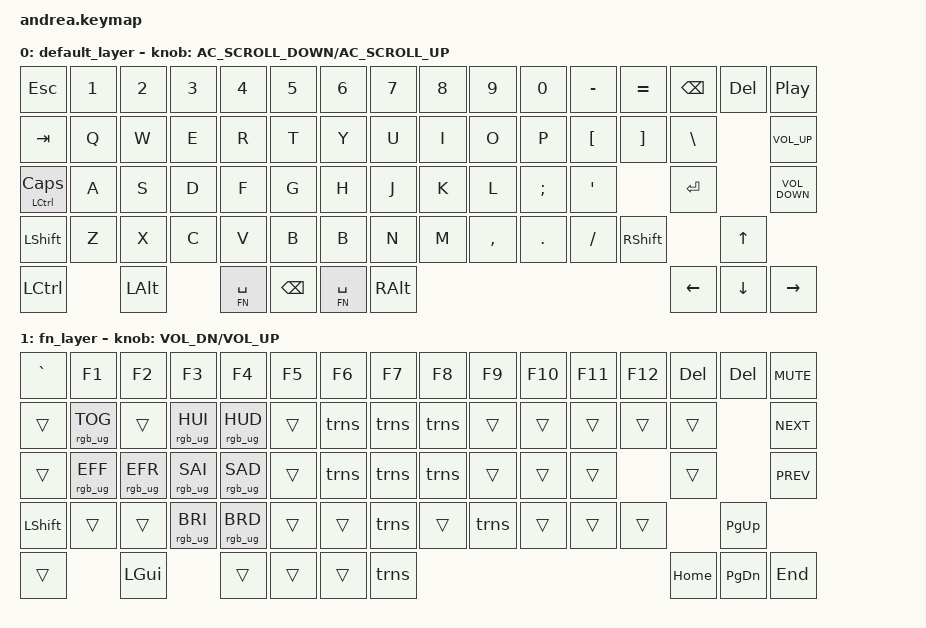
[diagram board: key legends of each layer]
#include <behaviors.dtsi>
#include <dt-bindings/zmk/keys.h>
#include <dt-bindings/zmk/bt.h>
#include <dt-bindings/zmk/outputs.h>
#include <dt-bindings/zmk/rgb.h>
#include <dt-bindings/zmk/ext_power.h>

#define FN 1

/ {
	keymap {
		compatible = "zmk,keymap";

		default_layer {
// -----------------------------------------------------------------------------------------
//   | ESC   | 1     | 2     | 3     | 4     | 5     | 6     | 7     | 8     | 9     | 0     | -     | =     | BSPC  | BSPC  | C_PLAY_PAUSE  |
//   | TAB   | Q     | W     | E     | R     | T     | Y     | U     | I     | O     | P     | [     | ]     | \     |         C_VOLUME_UP  |
// |MT(SPACE)| A     | S     | D     | F     | G     | H     | J     | K     | L     | ;     | '     |         ENTER |         C_VOLUME_DOWN  |
//   | SHIFT | Z     | X     | C     | V     | B     | B     | N     | M     | ,     | .     | /     | SHIFT |         UP    |
//   | CTRL  |         ALT   |  LT(SPACE, 1) | BSPC  |   LT(SPACE,1) | ALT   |                                 LEFT  | DOWN  | RIGHT |

			bindings = <
    &kp ESC          &kp NUM_1        &kp NUM_2     &kp NUM_3     &kp NUM_4     &kp NUM_5        &kp NUM_6        &kp NUM_7        &kp NUM_8        &kp NUM_9        &kp NUM_0        &kp MINUS        &kp EQL          &kp BKSP         &kp DEL         &kp  C_PLAY_PAUSE
    &kp TAB          &kp Q            &kp W         &kp E         &kp R         &kp T            &kp Y            &kp U            &kp I            &kp O            &kp P            &kp LBKT         &kp RBKT         &kp BSLH                         &kp  C_VOLUME_UP
    &mt LCTRL CAPS   &kp A            &kp S         &kp D         &kp F         &kp G            &kp H            &kp J            &kp K            &kp L            &kp SCLN         &kp QUOT                          &kp ENTER                        &kp  C_VOLUME_DOWN
    &kp LSHFT        &kp Z            &kp X         &kp C         &kp V         &kp B            &kp B            &kp N            &kp M            &kp CMMA         &kp DOT          &kp FSLH         &kp RSHFT                         &kp UP
    &kp LCTRL                         &kp LALT                    &lt FN SPACE  &kp BKSP         &lt FN SPACE     &kp RALT                                                                                              &kp LEFT         &kp DOWN        &kp RIGHT
			>;
			
			sensor-bindings = <&inc_dec_kp C_AC_SCROLL_DOWN C_AC_SCROLL_UP>;
			
		};

		fn_layer {
// -----------------------------------------------------------------------------------------
//   | GRAVE | F1    | F2    | F3    | F4    | F5    | F6    | F7    | F8    | F9    | F10   | F11   | F12   | DELETE  | TRANS | MUTE  |
//   | TRANS |RGB_TOG| TRANS |RGB_HUI|RGB_HUD| TRANS | TRANS  | TRANS  | TRANS | TRANS | TRANS | TRANS | TRANS | TRANS  |         NEXT T|
// |MT(SPACE)|RGB_EFF|RGB_EFR|RGB_SAI|RGB_SAD| TRANS | TRANS   | TRANS  | TRANS | TRANS | TRANS | TRANS |         TRANS  |         PREV T|
//   | SHIFT | TRANS | TRANS |RGB_BRI|RGB_BRD| TRANS | TRANS | TRANS   | TRANS  | TRANS | TRANS | TRANS | TRANS |          PG_UP |
//   | TRANS |         GUI   |         TRANS | TRANS |         TRANS | TRANS  |                                 HOME   | PG_DN | END   |

			bindings = <
    &kp GRAVE        &kp F1           &kp F2           &kp F3          &kp F4          &kp F5        &kp F6           &kp F7           &kp F8           &kp F9           &kp F10          &kp F11          &kp F12          &kp DEL           &kp DEL         &kp C_MUTE
    &trans           &rgb_ug RGB_TOG  &trans           &rgb_ug RGB_HUI &rgb_ug RGB_HUD &trans        &trns         &trns          &trns   &trans           &trans           &trans           &trans           &trans                          &kp C_NEXT
    &trans           &rgb_ug RGB_EFF  &rgb_ug RGB_EFR  &rgb_ug RGB_SAI &rgb_ug RGB_SAD &trans        &trns           &trns          &trns         &trans           &trans           &trans                            &trans                          &kp C_PREV
    &kp LSHFT        &trans           &trans           &rgb_ug RGB_BRI &rgb_ug RGB_BRD &trans        &trans           &trns          &trans          &trns         &trans           &trans           &trans                            &kp PG_UP
    &trans                            &kp LGUI                         &trans          &trans        &trans           &trns                                                                                             &kp HOME         &kp PG_DN      &kp END        
			>;

			sensor-bindings = <&inc_dec_kp C_VOL_DN C_VOL_UP>;

		};

	};
};
